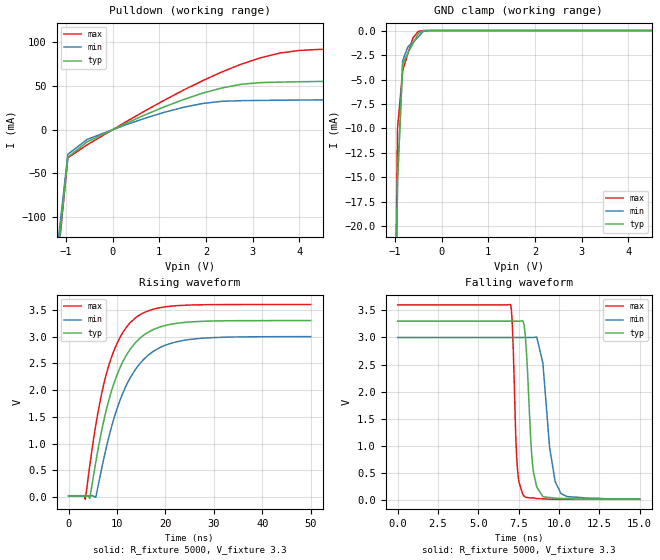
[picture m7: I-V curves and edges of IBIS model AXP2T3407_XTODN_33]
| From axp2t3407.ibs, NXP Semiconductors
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|   Model AXP2T3407_XTODN_33
[Model]   AXP2T3407_XTODN_33
Model_type   Open_drain
Polarity   Non-Inverting
Vmeas =  1.65V
Cref  =  5e-12
Rref  =  10e+3
Vref  =  3.3V
C_comp   0.9909pF   0.8506pF   1.1210pF
[Model Spec]
| Note: The input and output voltage ratings may be exceeded if the input and
|   output current ratings are observed (please refer to the data sheet)
|   Subparameter   typ   min   max
| Timing Thresholds
Vmeas   1.65   1.5   1.8
|Ambient temperature:   25   85   -40
[Temperature Range]   30   90   -35
[Voltage Range]   3.3   3.0   3.6
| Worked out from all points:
|   slope of the pulldown table from 0 to 0.495 V, typ, clamps not added: 40.4 ohm
|   GND clamp passes 1 mA (typ) near -0.58 V on its own axis
|   rising waveform, R_fixture 5000, V_fixture 3.3: 20-80 % time 6.23ns typ, 6.92ns min, 5.47ns max; typ from 0.025 V to 3.3 V
|   falling waveform, R_fixture 5000, V_fixture 3.3: 20-80 % time 357ps typ, 576ps min, 238ps max; typ from 3.3 V to 0.025 V
|Process Range   nominal   slow   fast
[GND_clamp]
|   voltage   I(typ)   I(min)   I(max)
-5.5V     -2.957A    -2.756A    -3.17A
-1.056V   -61.76mA   -55.78mA   -55.53mA
-944.4mV  -15.58mA   -15.37mA   -10.03mA
-833.3mV  -3.412mA   -3.047mA   -4.112mA
-722.2mV  -2.287mA   -1.662mA   -2.321mA
-611.1mV  -1.33mA    -1.186mA   -742.4uA
-500mV    -281.9uA   -644uA     -90.52uA
-388.9mV  -19.05uA   -70.75uA   -2.215uA
-277.8mV  -361.9nA   -2.29uA    -18.15nA
11V       0A         0A         0A
[Pulldown]
|   voltage   I(typ)   I(min)   I(max)
-5.5V     -2.962A    -2.757A    -3.174A
-1.371V   -248mA     -226mA     -259mA
-958mV    -31.4mA    -28.2mA    -32.1mA
-545mV    -13.9mA    -11.1mA    -17.3mA
1.52V     34.6mA     25.7mA     45.5mA
2.345V    47.9mA     32.6mA     66.3mA
3.171V    54mA       33.6mA     82.5mA
3.997V    55mA       34mA       90.8mA
7.713V    60.7mA     39mA       97.8mA
8.539V    65.4mA     42.7mA     102mA
10.19V    80.2mA     53.6mA     120mA
11V       89.7mA     60.3mA     132mA
[Ramp]
| variable   typ   min   max
dV/dt_r  1.9980E+00/6.2790E-09  1.8060E+00/6.9770E-09  2.1900E+00/5.5090E-09
dV/dt_f  1.9980E+00/3.6890E-10  1.8060E+00/5.2530E-10  2.1900E+00/2.4370E-10
R_load = 5000
[Rising Waveform]
R_fixture   = 5000
V_fixture   = 3.3
V_fixture_min = 3.0
V_fixture_max = 3.6
| time   V(typ)   V(min)   V(max)
0s        24.65mV    28.45mV    21.36mV
3.44ns    24.65mV    28.45mV    -39.78mV
4.4ns     -12.43mV   28.45mV    613.7mV
5.6ns     651.9mV    -83.75uV   1.345V
7.28ns    1.436V     726.9mV    2.119V
9.04ns    2.039V     1.372V     2.663V
13.76ns   2.883V     2.381V     3.347V
17.48ns   3.132V     2.724V     3.512V
23.76ns   3.264V     2.93V      3.585V
50ns      3.3V       3V         3.6V
[Falling Waveform]
R_fixture   = 5000
V_fixture   = 3.3
V_fixture_min = 3.0
V_fixture_max = 3.6
| time   V(typ)   V(min)   V(max)
0s        3.3V       3V         3.6V
6.98ns    3.3V       3V         3.607V
7.5ns     3.299V     3V         374.5mV
7.88ns    3.115V     3V         68.87mV
8.3ns     874.2mV    2.999V     47.58mV
8.62ns    247.9mV    3.008V     34.55mV
9ns       70.49mV    2.529V     31.57mV
9.42ns    55.27mV    963.9mV    23.84mV
10.12ns   36.66mV    126.2mV    21.76mV
15ns      24.65mV    28.57mV    21.36mV
